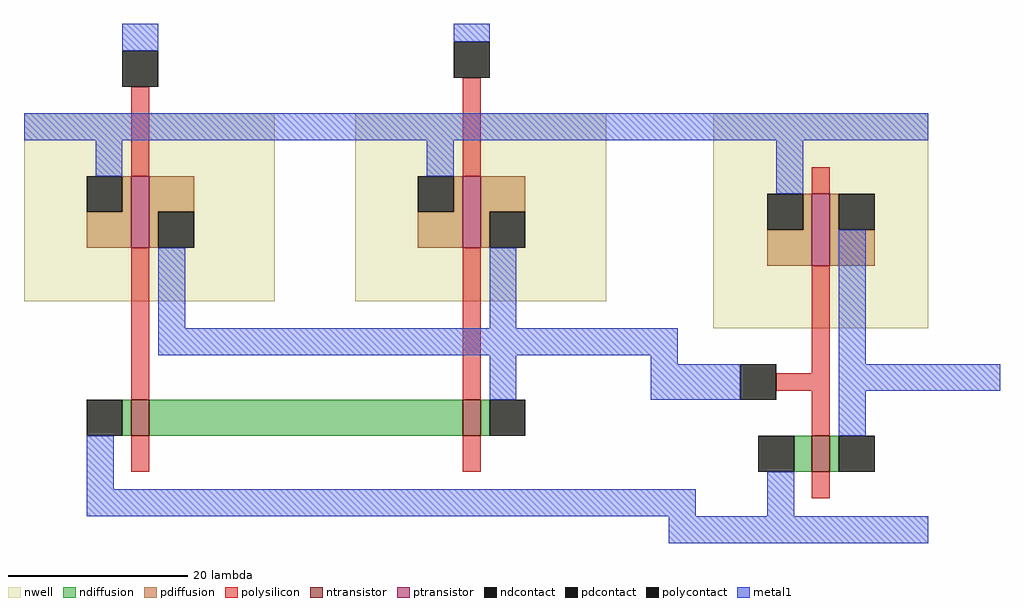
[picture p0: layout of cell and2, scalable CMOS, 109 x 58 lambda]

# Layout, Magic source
magic
tech scmos
<< nwell >>
rect -36 -4 -8 17
rect 1 -4 29 17
<< ntransistor >>
rect -24 -19 -22 -15
rect 13 -19 15 -15
<< ptransistor >>
rect -24 2 -22 10
rect 13 2 15 10
<< ndiffusion >>
rect -25 -19 -24 -15
rect -22 -19 13 -15
rect 15 -19 16 -15
<< pdiffusion >>
rect -25 6 -24 10
rect -29 2 -24 6
rect -22 6 -17 10
rect -22 2 -21 6
rect 12 6 13 10
rect 8 2 13 6
rect 15 6 20 10
rect 15 2 16 6
<< ndcontact >>
rect -29 -19 -25 -15
rect 16 -19 20 -15
<< pdcontact >>
rect -29 6 -25 10
rect -21 2 -17 6
rect 8 6 12 10
rect 16 2 20 6
<< polysilicon >>
rect -24 10 -22 20
rect 13 10 15 21
rect -24 -15 -22 2
rect 13 -15 15 2
rect -24 -23 -22 -19
rect 13 -23 15 -19
<< polycontact >>
rect -25 20 -21 24
rect 12 21 16 25
<< metal1 >>
rect -25 24 -21 27
rect 12 25 16 27
rect -36 14 41 17
rect -28 10 -25 14
rect 9 10 12 14
rect -21 -7 -18 2
rect 16 -7 19 2
rect -21 -10 37 -7
rect 16 -15 19 -10
rect 34 -11 37 -10
rect 34 -15 41 -11
rect 65 -14 73 -11
rect -29 -25 -26 -19
rect -29 -28 39 -25
rect 36 -31 43 -28
use not  not_0
transform 1 0 53 0 1 2
box -12 -33 12 15
<< end >>

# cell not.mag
magic
tech scmos
<< nwell >>
rect -12 -9 12 15
<< ntransistor >>
rect -1 -25 1 -21
<< ptransistor >>
rect -1 -2 1 6
<< ndiffusion >>
rect -3 -25 -1 -21
rect 1 -25 2 -21
<< pdiffusion >>
rect -2 2 -1 6
rect -6 -2 -1 2
rect 1 2 2 6
rect 1 -2 6 2
<< ndcontact >>
rect -7 -25 -3 -21
rect 2 -25 6 -21
<< pdcontact >>
rect -6 2 -2 6
rect 2 2 6 6
<< polysilicon >>
rect -1 6 1 9
rect -1 -14 1 -2
rect -5 -16 1 -14
rect -1 -21 1 -16
rect -1 -28 1 -25
<< polycontact >>
rect -9 -17 -5 -13
<< metal1 >>
rect -12 12 12 15
rect -5 6 -2 12
rect 2 -13 5 2
rect -12 -17 -9 -13
rect 2 -16 12 -13
rect 2 -21 5 -16
rect -6 -30 -3 -25
rect -12 -33 12 -30
<< end >>
